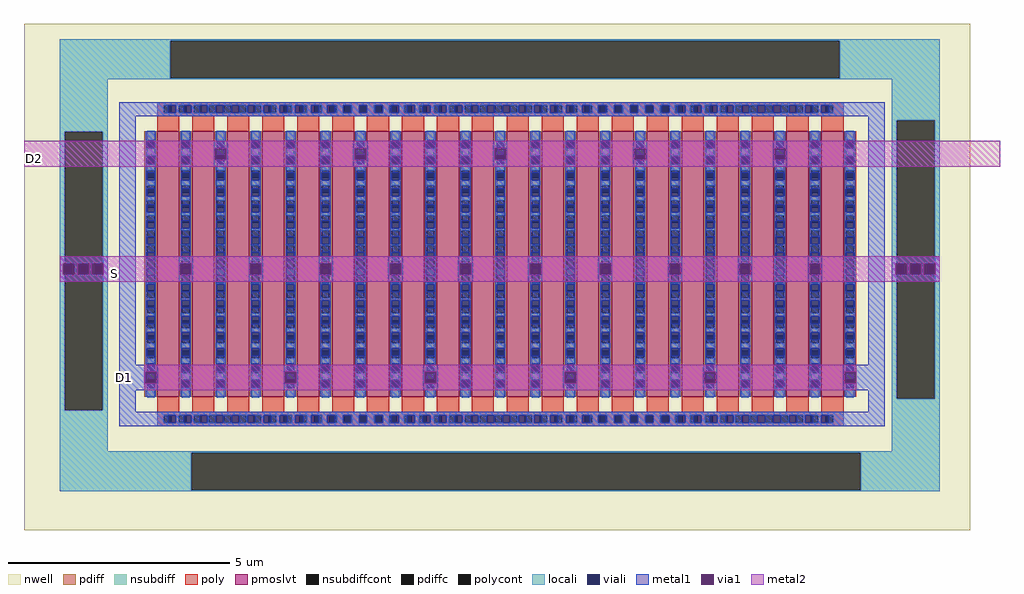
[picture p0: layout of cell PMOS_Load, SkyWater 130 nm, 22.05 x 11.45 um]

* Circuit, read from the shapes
.subckt PMOS_Load D2 D1 S
XM1 S D1 D1 S sky130_fd_pr__pfet_01v8_lvt w=6 l=0.5 m=10
XM2 D2 D1 S S sky130_fd_pr__pfet_01v8_lvt w=6 l=0.5 m=10
.ends

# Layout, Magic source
magic
tech sky130A
magscale 1 2
<< nwell >>
rect -508 -541 3769 1749
<< nsubdiff >>
rect -347 1672 3631 1678
rect -347 1502 152 1672
rect 3178 1502 3631 1672
rect -347 1497 3631 1502
rect -347 1260 -129 1497
rect 3413 1312 3631 1497
rect -347 2 -323 1260
rect -153 2 -129 1260
rect 3413 54 3437 1312
rect 3607 54 3631 1312
rect -347 -184 -129 2
rect 3413 -184 3631 54
rect -347 -190 3631 -184
rect -347 -360 248 -190
rect 3274 -360 3631 -190
rect -347 -365 3631 -360
<< nsubdiffcont >>
rect 152 1502 3178 1672
rect -323 2 -153 1260
rect 3437 54 3607 1312
rect 248 -360 3274 -190
<< poly >>
rect 94 1380 3196 1394
rect 94 1346 123 1380
rect 157 1346 191 1380
rect 225 1346 259 1380
rect 293 1346 327 1380
rect 361 1346 395 1380
rect 429 1346 463 1380
rect 497 1346 531 1380
rect 565 1346 599 1380
rect 633 1346 667 1380
rect 701 1346 735 1380
rect 769 1346 803 1380
rect 837 1346 871 1380
rect 905 1346 939 1380
rect 973 1346 1007 1380
rect 1041 1346 1075 1380
rect 1109 1346 1143 1380
rect 1177 1346 1211 1380
rect 1245 1346 1279 1380
rect 1313 1346 1347 1380
rect 1381 1346 1415 1380
rect 1449 1346 1483 1380
rect 1517 1346 1551 1380
rect 1585 1346 1619 1380
rect 1653 1346 1687 1380
rect 1721 1346 1755 1380
rect 1789 1346 1823 1380
rect 1857 1346 1891 1380
rect 1925 1346 1959 1380
rect 1993 1346 2027 1380
rect 2061 1346 2095 1380
rect 2129 1346 2163 1380
rect 2197 1346 2231 1380
rect 2265 1346 2299 1380
rect 2333 1346 2367 1380
rect 2401 1346 2435 1380
rect 2469 1346 2503 1380
rect 2537 1346 2571 1380
rect 2605 1346 2639 1380
rect 2673 1346 2707 1380
rect 2741 1346 2775 1380
rect 2809 1346 2843 1380
rect 2877 1346 2911 1380
rect 2945 1346 2979 1380
rect 3013 1346 3047 1380
rect 3081 1346 3115 1380
rect 3149 1346 3196 1380
rect 94 1330 3196 1346
rect 94 1288 194 1330
rect 252 1288 352 1330
rect 410 1288 510 1330
rect 568 1288 668 1330
rect 726 1288 826 1330
rect 884 1288 984 1330
rect 1042 1288 1142 1330
rect 1200 1288 1300 1330
rect 1358 1288 1458 1330
rect 1516 1288 1616 1330
rect 1674 1288 1774 1330
rect 1832 1288 1932 1330
rect 1990 1288 2090 1330
rect 2148 1288 2248 1330
rect 2306 1288 2406 1330
rect 2464 1288 2564 1330
rect 2622 1288 2722 1330
rect 2780 1288 2880 1330
rect 2938 1288 3038 1330
rect 3096 1288 3196 1330
rect 94 -6 194 36
rect 252 -6 352 36
rect 410 -6 510 36
rect 568 -6 668 36
rect 726 -6 826 36
rect 884 -6 984 36
rect 1042 -6 1142 36
rect 1200 -6 1300 36
rect 1358 -6 1458 36
rect 1516 -6 1616 36
rect 1674 -6 1774 36
rect 1832 -6 1932 36
rect 1990 -6 2090 36
rect 2148 -6 2248 36
rect 2306 -6 2406 36
rect 2464 -6 2564 36
rect 2622 -6 2722 36
rect 2780 -6 2880 36
rect 2938 -6 3038 36
rect 3096 -6 3196 36
rect 94 -20 3196 -6
rect 94 -54 123 -20
rect 157 -54 191 -20
rect 225 -54 259 -20
rect 293 -54 327 -20
rect 361 -54 395 -20
rect 429 -54 463 -20
rect 497 -54 531 -20
rect 565 -54 599 -20
rect 633 -54 667 -20
rect 701 -54 735 -20
rect 769 -54 803 -20
rect 837 -54 871 -20
rect 905 -54 939 -20
rect 973 -54 1007 -20
rect 1041 -54 1075 -20
rect 1109 -54 1143 -20
rect 1177 -54 1211 -20
rect 1245 -54 1279 -20
rect 1313 -54 1347 -20
rect 1381 -54 1415 -20
rect 1449 -54 1483 -20
rect 1517 -54 1551 -20
rect 1585 -54 1619 -20
rect 1653 -54 1687 -20
rect 1721 -54 1755 -20
rect 1789 -54 1823 -20
rect 1857 -54 1891 -20
rect 1925 -54 1959 -20
rect 1993 -54 2027 -20
rect 2061 -54 2095 -20
rect 2129 -54 2163 -20
rect 2197 -54 2231 -20
rect 2265 -54 2299 -20
rect 2333 -54 2367 -20
rect 2401 -54 2435 -20
rect 2469 -54 2503 -20
rect 2537 -54 2571 -20
rect 2605 -54 2639 -20
rect 2673 -54 2707 -20
rect 2741 -54 2775 -20
rect 2809 -54 2843 -20
rect 2877 -54 2911 -20
rect 2945 -54 2979 -20
rect 3013 -54 3047 -20
rect 3081 -54 3115 -20
rect 3149 -54 3196 -20
rect 94 -70 3196 -54
<< polycont >>
rect 123 1346 157 1380
rect 191 1346 225 1380
rect 259 1346 293 1380
rect 327 1346 361 1380
rect 395 1346 429 1380
rect 463 1346 497 1380
rect 531 1346 565 1380
rect 599 1346 633 1380
rect 667 1346 701 1380
rect 735 1346 769 1380
rect 803 1346 837 1380
rect 871 1346 905 1380
rect 939 1346 973 1380
rect 1007 1346 1041 1380
rect 1075 1346 1109 1380
rect 1143 1346 1177 1380
rect 1211 1346 1245 1380
rect 1279 1346 1313 1380
rect 1347 1346 1381 1380
rect 1415 1346 1449 1380
rect 1483 1346 1517 1380
rect 1551 1346 1585 1380
rect 1619 1346 1653 1380
rect 1687 1346 1721 1380
rect 1755 1346 1789 1380
rect 1823 1346 1857 1380
rect 1891 1346 1925 1380
rect 1959 1346 1993 1380
rect 2027 1346 2061 1380
rect 2095 1346 2129 1380
rect 2163 1346 2197 1380
rect 2231 1346 2265 1380
rect 2299 1346 2333 1380
rect 2367 1346 2401 1380
rect 2435 1346 2469 1380
rect 2503 1346 2537 1380
rect 2571 1346 2605 1380
rect 2639 1346 2673 1380
rect 2707 1346 2741 1380
rect 2775 1346 2809 1380
rect 2843 1346 2877 1380
rect 2911 1346 2945 1380
rect 2979 1346 3013 1380
rect 3047 1346 3081 1380
rect 3115 1346 3149 1380
rect 123 -54 157 -20
rect 191 -54 225 -20
rect 259 -54 293 -20
rect 327 -54 361 -20
rect 395 -54 429 -20
rect 463 -54 497 -20
rect 531 -54 565 -20
rect 599 -54 633 -20
rect 667 -54 701 -20
rect 735 -54 769 -20
rect 803 -54 837 -20
rect 871 -54 905 -20
rect 939 -54 973 -20
rect 1007 -54 1041 -20
rect 1075 -54 1109 -20
rect 1143 -54 1177 -20
rect 1211 -54 1245 -20
rect 1279 -54 1313 -20
rect 1347 -54 1381 -20
rect 1415 -54 1449 -20
rect 1483 -54 1517 -20
rect 1551 -54 1585 -20
rect 1619 -54 1653 -20
rect 1687 -54 1721 -20
rect 1755 -54 1789 -20
rect 1823 -54 1857 -20
rect 1891 -54 1925 -20
rect 1959 -54 1993 -20
rect 2027 -54 2061 -20
rect 2095 -54 2129 -20
rect 2163 -54 2197 -20
rect 2231 -54 2265 -20
rect 2299 -54 2333 -20
rect 2367 -54 2401 -20
rect 2435 -54 2469 -20
rect 2503 -54 2537 -20
rect 2571 -54 2605 -20
rect 2639 -54 2673 -20
rect 2707 -54 2741 -20
rect 2775 -54 2809 -20
rect 2843 -54 2877 -20
rect 2911 -54 2945 -20
rect 2979 -54 3013 -20
rect 3047 -54 3081 -20
rect 3115 -54 3149 -20
<< locali >>
rect -347 1672 3631 1678
rect -347 1502 152 1672
rect 3178 1502 3631 1672
rect -347 1497 3631 1502
rect -347 1260 -129 1497
rect 94 1380 3196 1394
rect 94 1346 123 1380
rect 177 1346 191 1380
rect 249 1346 259 1380
rect 321 1346 327 1380
rect 393 1346 395 1380
rect 429 1346 431 1380
rect 497 1346 503 1380
rect 565 1346 575 1380
rect 633 1346 647 1380
rect 701 1346 719 1380
rect 769 1346 791 1380
rect 837 1346 863 1380
rect 905 1346 935 1380
rect 973 1346 1007 1380
rect 1041 1346 1075 1380
rect 1113 1346 1143 1380
rect 1185 1346 1211 1380
rect 1257 1346 1279 1380
rect 1329 1346 1347 1380
rect 1401 1346 1415 1380
rect 1473 1346 1483 1380
rect 1545 1346 1551 1380
rect 1617 1346 1619 1380
rect 1653 1346 1655 1380
rect 1721 1346 1727 1380
rect 1789 1346 1799 1380
rect 1857 1346 1871 1380
rect 1925 1346 1943 1380
rect 1993 1346 2015 1380
rect 2061 1346 2087 1380
rect 2129 1346 2159 1380
rect 2197 1346 2231 1380
rect 2265 1346 2299 1380
rect 2337 1346 2367 1380
rect 2409 1346 2435 1380
rect 2481 1346 2503 1380
rect 2553 1346 2571 1380
rect 2625 1346 2639 1380
rect 2697 1346 2707 1380
rect 2769 1346 2775 1380
rect 2841 1346 2843 1380
rect 2877 1346 2879 1380
rect 2945 1346 2951 1380
rect 3013 1346 3023 1380
rect 3081 1346 3095 1380
rect 3149 1346 3196 1380
rect 94 1330 3196 1346
rect -347 657 -323 1260
rect -153 657 -129 1260
rect -347 623 -329 657
rect -151 623 -129 657
rect -347 2 -323 623
rect -153 2 -129 623
rect -347 -184 -129 2
rect 3413 1312 3631 1497
rect 3413 658 3437 1312
rect 3607 658 3631 1312
rect 3413 624 3432 658
rect 3610 624 3631 658
rect 3413 54 3437 624
rect 3607 54 3631 624
rect 94 -20 3196 -6
rect 94 -54 123 -20
rect 177 -54 191 -20
rect 249 -54 259 -20
rect 321 -54 327 -20
rect 393 -54 395 -20
rect 429 -54 431 -20
rect 497 -54 503 -20
rect 565 -54 575 -20
rect 633 -54 647 -20
rect 701 -54 719 -20
rect 769 -54 791 -20
rect 837 -54 863 -20
rect 905 -54 935 -20
rect 973 -54 1007 -20
rect 1041 -54 1075 -20
rect 1113 -54 1143 -20
rect 1185 -54 1211 -20
rect 1257 -54 1279 -20
rect 1329 -54 1347 -20
rect 1401 -54 1415 -20
rect 1473 -54 1483 -20
rect 1545 -54 1551 -20
rect 1617 -54 1619 -20
rect 1653 -54 1655 -20
rect 1721 -54 1727 -20
rect 1789 -54 1799 -20
rect 1857 -54 1871 -20
rect 1925 -54 1943 -20
rect 1993 -54 2015 -20
rect 2061 -54 2087 -20
rect 2129 -54 2159 -20
rect 2197 -54 2231 -20
rect 2265 -54 2299 -20
rect 2337 -54 2367 -20
rect 2409 -54 2435 -20
rect 2481 -54 2503 -20
rect 2553 -54 2571 -20
rect 2625 -54 2639 -20
rect 2697 -54 2707 -20
rect 2769 -54 2775 -20
rect 2841 -54 2843 -20
rect 2877 -54 2879 -20
rect 2945 -54 2951 -20
rect 3013 -54 3023 -20
rect 3081 -54 3095 -20
rect 3149 -54 3196 -20
rect 94 -70 3196 -54
rect 3413 -184 3631 54
rect -347 -190 3631 -184
rect -347 -360 248 -190
rect 3274 -360 3631 -190
rect -347 -365 3631 -360
<< viali >>
rect 143 1346 157 1380
rect 157 1346 177 1380
rect 215 1346 225 1380
rect 225 1346 249 1380
rect 287 1346 293 1380
rect 293 1346 321 1380
rect 359 1346 361 1380
rect 361 1346 393 1380
rect 431 1346 463 1380
rect 463 1346 465 1380
rect 503 1346 531 1380
rect 531 1346 537 1380
rect 575 1346 599 1380
rect 599 1346 609 1380
rect 647 1346 667 1380
rect 667 1346 681 1380
rect 719 1346 735 1380
rect 735 1346 753 1380
rect 791 1346 803 1380
rect 803 1346 825 1380
rect 863 1346 871 1380
rect 871 1346 897 1380
rect 935 1346 939 1380
rect 939 1346 969 1380
rect 1007 1346 1041 1380
rect 1079 1346 1109 1380
rect 1109 1346 1113 1380
rect 1151 1346 1177 1380
rect 1177 1346 1185 1380
rect 1223 1346 1245 1380
rect 1245 1346 1257 1380
rect 1295 1346 1313 1380
rect 1313 1346 1329 1380
rect 1367 1346 1381 1380
rect 1381 1346 1401 1380
rect 1439 1346 1449 1380
rect 1449 1346 1473 1380
rect 1511 1346 1517 1380
rect 1517 1346 1545 1380
rect 1583 1346 1585 1380
rect 1585 1346 1617 1380
rect 1655 1346 1687 1380
rect 1687 1346 1689 1380
rect 1727 1346 1755 1380
rect 1755 1346 1761 1380
rect 1799 1346 1823 1380
rect 1823 1346 1833 1380
rect 1871 1346 1891 1380
rect 1891 1346 1905 1380
rect 1943 1346 1959 1380
rect 1959 1346 1977 1380
rect 2015 1346 2027 1380
rect 2027 1346 2049 1380
rect 2087 1346 2095 1380
rect 2095 1346 2121 1380
rect 2159 1346 2163 1380
rect 2163 1346 2193 1380
rect 2231 1346 2265 1380
rect 2303 1346 2333 1380
rect 2333 1346 2337 1380
rect 2375 1346 2401 1380
rect 2401 1346 2409 1380
rect 2447 1346 2469 1380
rect 2469 1346 2481 1380
rect 2519 1346 2537 1380
rect 2537 1346 2553 1380
rect 2591 1346 2605 1380
rect 2605 1346 2625 1380
rect 2663 1346 2673 1380
rect 2673 1346 2697 1380
rect 2735 1346 2741 1380
rect 2741 1346 2769 1380
rect 2807 1346 2809 1380
rect 2809 1346 2841 1380
rect 2879 1346 2911 1380
rect 2911 1346 2913 1380
rect 2951 1346 2979 1380
rect 2979 1346 2985 1380
rect 3023 1346 3047 1380
rect 3047 1346 3057 1380
rect 3095 1346 3115 1380
rect 3115 1346 3129 1380
rect -329 623 -323 657
rect -323 623 -295 657
rect -257 623 -223 657
rect -185 623 -153 657
rect -153 623 -151 657
rect 3432 624 3437 658
rect 3437 624 3466 658
rect 3504 624 3538 658
rect 3576 624 3607 658
rect 3607 624 3610 658
rect 143 -54 157 -20
rect 157 -54 177 -20
rect 215 -54 225 -20
rect 225 -54 249 -20
rect 287 -54 293 -20
rect 293 -54 321 -20
rect 359 -54 361 -20
rect 361 -54 393 -20
rect 431 -54 463 -20
rect 463 -54 465 -20
rect 503 -54 531 -20
rect 531 -54 537 -20
rect 575 -54 599 -20
rect 599 -54 609 -20
rect 647 -54 667 -20
rect 667 -54 681 -20
rect 719 -54 735 -20
rect 735 -54 753 -20
rect 791 -54 803 -20
rect 803 -54 825 -20
rect 863 -54 871 -20
rect 871 -54 897 -20
rect 935 -54 939 -20
rect 939 -54 969 -20
rect 1007 -54 1041 -20
rect 1079 -54 1109 -20
rect 1109 -54 1113 -20
rect 1151 -54 1177 -20
rect 1177 -54 1185 -20
rect 1223 -54 1245 -20
rect 1245 -54 1257 -20
rect 1295 -54 1313 -20
rect 1313 -54 1329 -20
rect 1367 -54 1381 -20
rect 1381 -54 1401 -20
rect 1439 -54 1449 -20
rect 1449 -54 1473 -20
rect 1511 -54 1517 -20
rect 1517 -54 1545 -20
rect 1583 -54 1585 -20
rect 1585 -54 1617 -20
rect 1655 -54 1687 -20
rect 1687 -54 1689 -20
rect 1727 -54 1755 -20
rect 1755 -54 1761 -20
rect 1799 -54 1823 -20
rect 1823 -54 1833 -20
rect 1871 -54 1891 -20
rect 1891 -54 1905 -20
rect 1943 -54 1959 -20
rect 1959 -54 1977 -20
rect 2015 -54 2027 -20
rect 2027 -54 2049 -20
rect 2087 -54 2095 -20
rect 2095 -54 2121 -20
rect 2159 -54 2163 -20
rect 2163 -54 2193 -20
rect 2231 -54 2265 -20
rect 2303 -54 2333 -20
rect 2333 -54 2337 -20
rect 2375 -54 2401 -20
rect 2401 -54 2409 -20
rect 2447 -54 2469 -20
rect 2469 -54 2481 -20
rect 2519 -54 2537 -20
rect 2537 -54 2553 -20
rect 2591 -54 2605 -20
rect 2605 -54 2625 -20
rect 2663 -54 2673 -20
rect 2673 -54 2697 -20
rect 2735 -54 2741 -20
rect 2741 -54 2769 -20
rect 2807 -54 2809 -20
rect 2809 -54 2841 -20
rect 2879 -54 2911 -20
rect 2911 -54 2913 -20
rect 2951 -54 2979 -20
rect 2979 -54 2985 -20
rect 3023 -54 3047 -20
rect 3047 -54 3057 -20
rect 3095 -54 3115 -20
rect 3115 -54 3129 -20
<< metal1 >>
rect -77 1380 3383 1394
rect -77 1346 143 1380
rect 177 1346 215 1380
rect 249 1346 287 1380
rect 321 1346 359 1380
rect 393 1346 431 1380
rect 465 1346 503 1380
rect 537 1346 575 1380
rect 609 1346 647 1380
rect 681 1346 719 1380
rect 753 1346 791 1380
rect 825 1346 863 1380
rect 897 1346 935 1380
rect 969 1346 1007 1380
rect 1041 1346 1079 1380
rect 1113 1346 1151 1380
rect 1185 1346 1223 1380
rect 1257 1346 1295 1380
rect 1329 1346 1367 1380
rect 1401 1346 1439 1380
rect 1473 1346 1511 1380
rect 1545 1346 1583 1380
rect 1617 1346 1655 1380
rect 1689 1346 1727 1380
rect 1761 1346 1799 1380
rect 1833 1346 1871 1380
rect 1905 1346 1943 1380
rect 1977 1346 2015 1380
rect 2049 1346 2087 1380
rect 2121 1346 2159 1380
rect 2193 1346 2231 1380
rect 2265 1346 2303 1380
rect 2337 1346 2375 1380
rect 2409 1346 2447 1380
rect 2481 1346 2519 1380
rect 2553 1346 2591 1380
rect 2625 1346 2663 1380
rect 2697 1346 2735 1380
rect 2769 1346 2807 1380
rect 2841 1346 2879 1380
rect 2913 1346 2951 1380
rect 2985 1346 3023 1380
rect 3057 1346 3095 1380
rect 3129 1346 3383 1380
rect -77 1330 3383 1346
rect -347 666 -129 698
rect -347 614 -330 666
rect -278 614 -266 666
rect -214 614 -202 666
rect -150 614 -129 666
rect -347 582 -129 614
rect -77 208 -2 1330
rect 349 1187 413 1219
rect 349 1135 355 1187
rect 407 1135 413 1187
rect 349 1103 413 1135
rect 981 1187 1045 1219
rect 981 1135 987 1187
rect 1039 1135 1045 1187
rect 981 1103 1045 1135
rect 1613 1187 1677 1219
rect 1613 1135 1619 1187
rect 1671 1135 1677 1187
rect 1613 1103 1677 1135
rect 2245 1187 2309 1219
rect 2245 1135 2251 1187
rect 2303 1135 2309 1187
rect 2245 1103 2309 1135
rect 2877 1187 2941 1219
rect 2877 1135 2883 1187
rect 2935 1135 2941 1187
rect 2877 1103 2941 1135
rect 191 666 255 698
rect 191 614 197 666
rect 249 614 255 666
rect 191 582 255 614
rect 507 666 571 698
rect 507 614 513 666
rect 565 614 571 666
rect 507 582 571 614
rect 823 666 887 698
rect 823 614 829 666
rect 881 614 887 666
rect 823 582 887 614
rect 1139 666 1203 698
rect 1139 614 1145 666
rect 1197 614 1203 666
rect 1139 582 1203 614
rect 1455 666 1519 698
rect 1455 614 1461 666
rect 1513 614 1519 666
rect 1455 582 1519 614
rect 1771 666 1835 698
rect 1771 614 1777 666
rect 1829 614 1835 666
rect 1771 582 1835 614
rect 2087 666 2151 698
rect 2087 614 2093 666
rect 2145 614 2151 666
rect 2087 582 2151 614
rect 2403 666 2467 698
rect 2403 614 2409 666
rect 2461 614 2467 666
rect 2403 582 2467 614
rect 2719 666 2783 698
rect 2719 614 2725 666
rect 2777 614 2783 666
rect 2719 582 2783 614
rect 3035 666 3099 698
rect 3035 614 3041 666
rect 3093 614 3099 666
rect 3035 582 3099 614
rect 3308 208 3383 1330
rect 3413 667 3631 698
rect 3413 615 3431 667
rect 3483 615 3495 667
rect 3547 615 3559 667
rect 3611 615 3631 667
rect 3413 582 3631 615
rect -77 176 97 208
rect -77 124 39 176
rect 91 124 97 176
rect -77 92 97 124
rect 665 176 729 208
rect 665 124 671 176
rect 723 124 729 176
rect 665 92 729 124
rect 1297 176 1361 208
rect 1297 124 1303 176
rect 1355 124 1361 176
rect 1297 92 1361 124
rect 1929 176 1993 208
rect 1929 124 1935 176
rect 1987 124 1993 176
rect 1929 92 1993 124
rect 2561 176 2625 208
rect 2561 124 2567 176
rect 2619 124 2625 176
rect 2561 92 2625 124
rect 3193 176 3383 208
rect 3193 124 3199 176
rect 3251 124 3383 176
rect 3193 92 3383 124
rect -77 -6 -2 92
rect 3308 -6 3383 92
rect -77 -20 3383 -6
rect -77 -54 143 -20
rect 177 -54 215 -20
rect 249 -54 287 -20
rect 321 -54 359 -20
rect 393 -54 431 -20
rect 465 -54 503 -20
rect 537 -54 575 -20
rect 609 -54 647 -20
rect 681 -54 719 -20
rect 753 -54 791 -20
rect 825 -54 863 -20
rect 897 -54 935 -20
rect 969 -54 1007 -20
rect 1041 -54 1079 -20
rect 1113 -54 1151 -20
rect 1185 -54 1223 -20
rect 1257 -54 1295 -20
rect 1329 -54 1367 -20
rect 1401 -54 1439 -20
rect 1473 -54 1511 -20
rect 1545 -54 1583 -20
rect 1617 -54 1655 -20
rect 1689 -54 1727 -20
rect 1761 -54 1799 -20
rect 1833 -54 1871 -20
rect 1905 -54 1943 -20
rect 1977 -54 2015 -20
rect 2049 -54 2087 -20
rect 2121 -54 2159 -20
rect 2193 -54 2231 -20
rect 2265 -54 2303 -20
rect 2337 -54 2375 -20
rect 2409 -54 2447 -20
rect 2481 -54 2519 -20
rect 2553 -54 2591 -20
rect 2625 -54 2663 -20
rect 2697 -54 2735 -20
rect 2769 -54 2807 -20
rect 2841 -54 2879 -20
rect 2913 -54 2951 -20
rect 2985 -54 3023 -20
rect 3057 -54 3095 -20
rect 3129 -54 3383 -20
rect -77 -70 3383 -54
<< via1 >>
rect -330 657 -278 666
rect -330 623 -329 657
rect -329 623 -295 657
rect -295 623 -278 657
rect -330 614 -278 623
rect -266 657 -214 666
rect -266 623 -257 657
rect -257 623 -223 657
rect -223 623 -214 657
rect -266 614 -214 623
rect -202 657 -150 666
rect -202 623 -185 657
rect -185 623 -151 657
rect -151 623 -150 657
rect -202 614 -150 623
rect 355 1135 407 1187
rect 987 1135 1039 1187
rect 1619 1135 1671 1187
rect 2251 1135 2303 1187
rect 2883 1135 2935 1187
rect 197 614 249 666
rect 513 614 565 666
rect 829 614 881 666
rect 1145 614 1197 666
rect 1461 614 1513 666
rect 1777 614 1829 666
rect 2093 614 2145 666
rect 2409 614 2461 666
rect 2725 614 2777 666
rect 3041 614 3093 666
rect 3431 658 3483 667
rect 3431 624 3432 658
rect 3432 624 3466 658
rect 3466 624 3483 658
rect 3431 615 3483 624
rect 3495 658 3547 667
rect 3495 624 3504 658
rect 3504 624 3538 658
rect 3538 624 3547 658
rect 3495 615 3547 624
rect 3559 658 3611 667
rect 3559 624 3576 658
rect 3576 624 3610 658
rect 3610 624 3611 658
rect 3559 615 3611 624
rect 39 124 91 176
rect 671 124 723 176
rect 1303 124 1355 176
rect 1935 124 1987 176
rect 2567 124 2619 176
rect 3199 124 3251 176
<< metal2 >>
rect -508 1187 3903 1219
rect -508 1135 355 1187
rect 407 1135 987 1187
rect 1039 1135 1619 1187
rect 1671 1135 2251 1187
rect 2303 1135 2883 1187
rect 2935 1135 3903 1187
rect -508 1103 3903 1135
rect -347 667 3631 698
rect -347 666 3431 667
rect -347 614 -330 666
rect -278 614 -266 666
rect -214 614 -202 666
rect -150 614 197 666
rect 249 614 513 666
rect 565 614 829 666
rect 881 614 1145 666
rect 1197 614 1461 666
rect 1513 614 1777 666
rect 1829 614 2093 666
rect 2145 614 2409 666
rect 2461 614 2725 666
rect 2777 614 3041 666
rect 3093 615 3431 666
rect 3483 615 3495 667
rect 3547 615 3559 667
rect 3611 615 3631 667
rect 3093 614 3631 615
rect -347 582 3631 614
rect 36 176 3254 208
rect 36 124 39 176
rect 91 124 671 176
rect 723 124 1303 176
rect 1355 124 1935 176
rect 1987 124 2567 176
rect 2619 124 3199 176
rect 3251 124 3254 176
rect 36 92 3254 124
use sky130_fd_pr__pfet_01v8_lvt_EEU9S7  sky130_fd_pr__pfet_01v8_lvt_EEU9S7_19
transform 1 0 144 0 1 662
box -144 -662 144 662
use sky130_fd_pr__pfet_01v8_lvt_EEU9S7  sky130_fd_pr__pfet_01v8_lvt_EEU9S7_18
transform 1 0 302 0 1 662
box -144 -662 144 662
use sky130_fd_pr__pfet_01v8_lvt_EEU9S7  sky130_fd_pr__pfet_01v8_lvt_EEU9S7_17
transform 1 0 460 0 1 662
box -144 -662 144 662
use sky130_fd_pr__pfet_01v8_lvt_EEU9S7  sky130_fd_pr__pfet_01v8_lvt_EEU9S7_16
transform 1 0 618 0 1 662
box -144 -662 144 662
use sky130_fd_pr__pfet_01v8_lvt_EEU9S7  sky130_fd_pr__pfet_01v8_lvt_EEU9S7_15
transform 1 0 776 0 1 662
box -144 -662 144 662
use sky130_fd_pr__pfet_01v8_lvt_EEU9S7  sky130_fd_pr__pfet_01v8_lvt_EEU9S7_14
transform 1 0 934 0 1 662
box -144 -662 144 662
use sky130_fd_pr__pfet_01v8_lvt_EEU9S7  sky130_fd_pr__pfet_01v8_lvt_EEU9S7_13
transform 1 0 1092 0 1 662
box -144 -662 144 662
use sky130_fd_pr__pfet_01v8_lvt_EEU9S7  sky130_fd_pr__pfet_01v8_lvt_EEU9S7_12
transform 1 0 1250 0 1 662
box -144 -662 144 662
use sky130_fd_pr__pfet_01v8_lvt_EEU9S7  sky130_fd_pr__pfet_01v8_lvt_EEU9S7_11
transform 1 0 1408 0 1 662
box -144 -662 144 662
use sky130_fd_pr__pfet_01v8_lvt_EEU9S7  sky130_fd_pr__pfet_01v8_lvt_EEU9S7_10
transform 1 0 1566 0 1 662
box -144 -662 144 662
use sky130_fd_pr__pfet_01v8_lvt_EEU9S7  sky130_fd_pr__pfet_01v8_lvt_EEU9S7_9
transform 1 0 1724 0 1 662
box -144 -662 144 662
use sky130_fd_pr__pfet_01v8_lvt_EEU9S7  sky130_fd_pr__pfet_01v8_lvt_EEU9S7_8
transform 1 0 2040 0 1 662
box -144 -662 144 662
use sky130_fd_pr__pfet_01v8_lvt_EEU9S7  sky130_fd_pr__pfet_01v8_lvt_EEU9S7_7
transform 1 0 1882 0 1 662
box -144 -662 144 662
use sky130_fd_pr__pfet_01v8_lvt_EEU9S7  sky130_fd_pr__pfet_01v8_lvt_EEU9S7_6
transform 1 0 2356 0 1 662
box -144 -662 144 662
use sky130_fd_pr__pfet_01v8_lvt_EEU9S7  sky130_fd_pr__pfet_01v8_lvt_EEU9S7_5
transform 1 0 2198 0 1 662
box -144 -662 144 662
use sky130_fd_pr__pfet_01v8_lvt_EEU9S7  sky130_fd_pr__pfet_01v8_lvt_EEU9S7_4
transform 1 0 2672 0 1 662
box -144 -662 144 662
use sky130_fd_pr__pfet_01v8_lvt_EEU9S7  sky130_fd_pr__pfet_01v8_lvt_EEU9S7_3
transform 1 0 2514 0 1 662
box -144 -662 144 662
use sky130_fd_pr__pfet_01v8_lvt_EEU9S7  sky130_fd_pr__pfet_01v8_lvt_EEU9S7_2
transform 1 0 2988 0 1 662
box -144 -662 144 662
use sky130_fd_pr__pfet_01v8_lvt_EEU9S7  sky130_fd_pr__pfet_01v8_lvt_EEU9S7_1
transform 1 0 2830 0 1 662
box -144 -662 144 662
use sky130_fd_pr__pfet_01v8_lvt_EEU9S7  sky130_fd_pr__pfet_01v8_lvt_EEU9S7_0
transform 1 0 3146 0 1 662
box -144 -662 144 662
<< labels >>
flabel metal2 s -461 1140 -461 1140 0 FreeSans 800 0 0 0 D2
port 1 nsew
flabel metal1 s -53 148 -53 148 0 FreeSans 800 0 0 0 D1
port 2 nsew
flabel metal2 s -100 619 -100 619 0 FreeSans 800 0 0 0 S
port 3 nsew
<< end >>

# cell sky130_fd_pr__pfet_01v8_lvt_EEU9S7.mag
magic
tech sky130A
magscale 1 2
<< nwell >>
rect -144 -662 144 662
<< pmoslvt >>
rect -50 -600 50 600
<< pdiff >>
rect -108 561 -50 600
rect -108 527 -96 561
rect -62 527 -50 561
rect -108 493 -50 527
rect -108 459 -96 493
rect -62 459 -50 493
rect -108 425 -50 459
rect -108 391 -96 425
rect -62 391 -50 425
rect -108 357 -50 391
rect -108 323 -96 357
rect -62 323 -50 357
rect -108 289 -50 323
rect -108 255 -96 289
rect -62 255 -50 289
rect -108 221 -50 255
rect -108 187 -96 221
rect -62 187 -50 221
rect -108 153 -50 187
rect -108 119 -96 153
rect -62 119 -50 153
rect -108 85 -50 119
rect -108 51 -96 85
rect -62 51 -50 85
rect -108 17 -50 51
rect -108 -17 -96 17
rect -62 -17 -50 17
rect -108 -51 -50 -17
rect -108 -85 -96 -51
rect -62 -85 -50 -51
rect -108 -119 -50 -85
rect -108 -153 -96 -119
rect -62 -153 -50 -119
rect -108 -187 -50 -153
rect -108 -221 -96 -187
rect -62 -221 -50 -187
rect -108 -255 -50 -221
rect -108 -289 -96 -255
rect -62 -289 -50 -255
rect -108 -323 -50 -289
rect -108 -357 -96 -323
rect -62 -357 -50 -323
rect -108 -391 -50 -357
rect -108 -425 -96 -391
rect -62 -425 -50 -391
rect -108 -459 -50 -425
rect -108 -493 -96 -459
rect -62 -493 -50 -459
rect -108 -527 -50 -493
rect -108 -561 -96 -527
rect -62 -561 -50 -527
rect -108 -600 -50 -561
rect 50 561 108 600
rect 50 527 62 561
rect 96 527 108 561
rect 50 493 108 527
rect 50 459 62 493
rect 96 459 108 493
rect 50 425 108 459
rect 50 391 62 425
rect 96 391 108 425
rect 50 357 108 391
rect 50 323 62 357
rect 96 323 108 357
rect 50 289 108 323
rect 50 255 62 289
rect 96 255 108 289
rect 50 221 108 255
rect 50 187 62 221
rect 96 187 108 221
rect 50 153 108 187
rect 50 119 62 153
rect 96 119 108 153
rect 50 85 108 119
rect 50 51 62 85
rect 96 51 108 85
rect 50 17 108 51
rect 50 -17 62 17
rect 96 -17 108 17
rect 50 -51 108 -17
rect 50 -85 62 -51
rect 96 -85 108 -51
rect 50 -119 108 -85
rect 50 -153 62 -119
rect 96 -153 108 -119
rect 50 -187 108 -153
rect 50 -221 62 -187
rect 96 -221 108 -187
rect 50 -255 108 -221
rect 50 -289 62 -255
rect 96 -289 108 -255
rect 50 -323 108 -289
rect 50 -357 62 -323
rect 96 -357 108 -323
rect 50 -391 108 -357
rect 50 -425 62 -391
rect 96 -425 108 -391
rect 50 -459 108 -425
rect 50 -493 62 -459
rect 96 -493 108 -459
rect 50 -527 108 -493
rect 50 -561 62 -527
rect 96 -561 108 -527
rect 50 -600 108 -561
<< pdiffc >>
rect -96 527 -62 561
rect -96 459 -62 493
rect -96 391 -62 425
rect -96 323 -62 357
rect -96 255 -62 289
rect -96 187 -62 221
rect -96 119 -62 153
rect -96 51 -62 85
rect -96 -17 -62 17
rect -96 -85 -62 -51
rect -96 -153 -62 -119
rect -96 -221 -62 -187
rect -96 -289 -62 -255
rect -96 -357 -62 -323
rect -96 -425 -62 -391
rect -96 -493 -62 -459
rect -96 -561 -62 -527
rect 62 527 96 561
rect 62 459 96 493
rect 62 391 96 425
rect 62 323 96 357
rect 62 255 96 289
rect 62 187 96 221
rect 62 119 96 153
rect 62 51 96 85
rect 62 -17 96 17
rect 62 -85 96 -51
rect 62 -153 96 -119
rect 62 -221 96 -187
rect 62 -289 96 -255
rect 62 -357 96 -323
rect 62 -425 96 -391
rect 62 -493 96 -459
rect 62 -561 96 -527
<< poly >>
rect -50 600 50 626
rect -50 -626 50 -600
<< locali >>
rect -96 561 -62 604
rect -96 493 -62 523
rect -96 425 -62 451
rect -96 357 -62 379
rect -96 289 -62 307
rect -96 221 -62 235
rect -96 153 -62 163
rect -96 85 -62 91
rect -96 17 -62 19
rect -96 -19 -62 -17
rect -96 -91 -62 -85
rect -96 -163 -62 -153
rect -96 -235 -62 -221
rect -96 -307 -62 -289
rect -96 -379 -62 -357
rect -96 -451 -62 -425
rect -96 -523 -62 -493
rect -96 -604 -62 -561
rect 62 561 96 604
rect 62 493 96 523
rect 62 425 96 451
rect 62 357 96 379
rect 62 289 96 307
rect 62 221 96 235
rect 62 153 96 163
rect 62 85 96 91
rect 62 17 96 19
rect 62 -19 96 -17
rect 62 -91 96 -85
rect 62 -163 96 -153
rect 62 -235 96 -221
rect 62 -307 96 -289
rect 62 -379 96 -357
rect 62 -451 96 -425
rect 62 -523 96 -493
rect 62 -604 96 -561
<< viali >>
rect -96 527 -62 557
rect -96 523 -62 527
rect -96 459 -62 485
rect -96 451 -62 459
rect -96 391 -62 413
rect -96 379 -62 391
rect -96 323 -62 341
rect -96 307 -62 323
rect -96 255 -62 269
rect -96 235 -62 255
rect -96 187 -62 197
rect -96 163 -62 187
rect -96 119 -62 125
rect -96 91 -62 119
rect -96 51 -62 53
rect -96 19 -62 51
rect -96 -51 -62 -19
rect -96 -53 -62 -51
rect -96 -119 -62 -91
rect -96 -125 -62 -119
rect -96 -187 -62 -163
rect -96 -197 -62 -187
rect -96 -255 -62 -235
rect -96 -269 -62 -255
rect -96 -323 -62 -307
rect -96 -341 -62 -323
rect -96 -391 -62 -379
rect -96 -413 -62 -391
rect -96 -459 -62 -451
rect -96 -485 -62 -459
rect -96 -527 -62 -523
rect -96 -557 -62 -527
rect 62 527 96 557
rect 62 523 96 527
rect 62 459 96 485
rect 62 451 96 459
rect 62 391 96 413
rect 62 379 96 391
rect 62 323 96 341
rect 62 307 96 323
rect 62 255 96 269
rect 62 235 96 255
rect 62 187 96 197
rect 62 163 96 187
rect 62 119 96 125
rect 62 91 96 119
rect 62 51 96 53
rect 62 19 96 51
rect 62 -51 96 -19
rect 62 -53 96 -51
rect 62 -119 96 -91
rect 62 -125 96 -119
rect 62 -187 96 -163
rect 62 -197 96 -187
rect 62 -255 96 -235
rect 62 -269 96 -255
rect 62 -323 96 -307
rect 62 -341 96 -323
rect 62 -391 96 -379
rect 62 -413 96 -391
rect 62 -459 96 -451
rect 62 -485 96 -459
rect 62 -527 96 -523
rect 62 -557 96 -527
<< metal1 >>
rect -102 557 -56 600
rect -102 523 -96 557
rect -62 523 -56 557
rect -102 485 -56 523
rect -102 451 -96 485
rect -62 451 -56 485
rect -102 413 -56 451
rect -102 379 -96 413
rect -62 379 -56 413
rect -102 341 -56 379
rect -102 307 -96 341
rect -62 307 -56 341
rect -102 269 -56 307
rect -102 235 -96 269
rect -62 235 -56 269
rect -102 197 -56 235
rect -102 163 -96 197
rect -62 163 -56 197
rect -102 125 -56 163
rect -102 91 -96 125
rect -62 91 -56 125
rect -102 53 -56 91
rect -102 19 -96 53
rect -62 19 -56 53
rect -102 -19 -56 19
rect -102 -53 -96 -19
rect -62 -53 -56 -19
rect -102 -91 -56 -53
rect -102 -125 -96 -91
rect -62 -125 -56 -91
rect -102 -163 -56 -125
rect -102 -197 -96 -163
rect -62 -197 -56 -163
rect -102 -235 -56 -197
rect -102 -269 -96 -235
rect -62 -269 -56 -235
rect -102 -307 -56 -269
rect -102 -341 -96 -307
rect -62 -341 -56 -307
rect -102 -379 -56 -341
rect -102 -413 -96 -379
rect -62 -413 -56 -379
rect -102 -451 -56 -413
rect -102 -485 -96 -451
rect -62 -485 -56 -451
rect -102 -523 -56 -485
rect -102 -557 -96 -523
rect -62 -557 -56 -523
rect -102 -600 -56 -557
rect 56 557 102 600
rect 56 523 62 557
rect 96 523 102 557
rect 56 485 102 523
rect 56 451 62 485
rect 96 451 102 485
rect 56 413 102 451
rect 56 379 62 413
rect 96 379 102 413
rect 56 341 102 379
rect 56 307 62 341
rect 96 307 102 341
rect 56 269 102 307
rect 56 235 62 269
rect 96 235 102 269
rect 56 197 102 235
rect 56 163 62 197
rect 96 163 102 197
rect 56 125 102 163
rect 56 91 62 125
rect 96 91 102 125
rect 56 53 102 91
rect 56 19 62 53
rect 96 19 102 53
rect 56 -19 102 19
rect 56 -53 62 -19
rect 96 -53 102 -19
rect 56 -91 102 -53
rect 56 -125 62 -91
rect 96 -125 102 -91
rect 56 -163 102 -125
rect 56 -197 62 -163
rect 96 -197 102 -163
rect 56 -235 102 -197
rect 56 -269 62 -235
rect 96 -269 102 -235
rect 56 -307 102 -269
rect 56 -341 62 -307
rect 96 -341 102 -307
rect 56 -379 102 -341
rect 56 -413 62 -379
rect 96 -413 102 -379
rect 56 -451 102 -413
rect 56 -485 62 -451
rect 96 -485 102 -451
rect 56 -523 102 -485
rect 56 -557 62 -523
rect 96 -557 102 -523
rect 56 -600 102 -557
<< end >>
